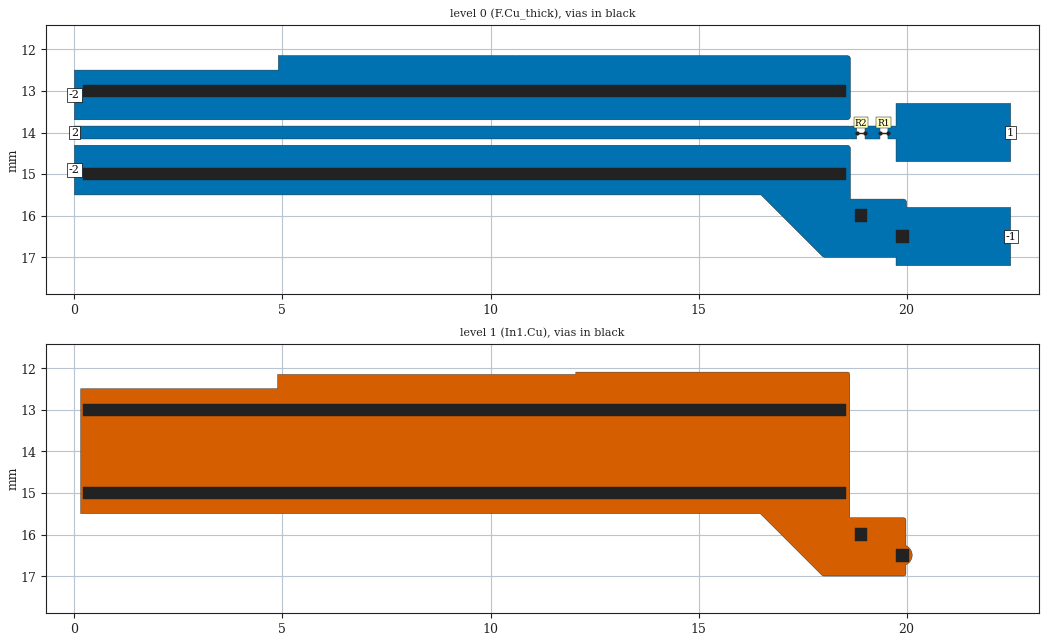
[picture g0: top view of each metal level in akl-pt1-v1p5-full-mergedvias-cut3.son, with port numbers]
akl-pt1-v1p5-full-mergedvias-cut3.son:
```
FTYP SONPROJ 19 ! Sonnet Project File
VER 18.54
HEADER
LIC antikernel2.1.51813
DAT 08/13/2022 00:26:06
BUILT_BY_CREATED dxf 18.54 08/11/2022 23:14:47
BUILT_BY_SAVED sonnet 18.54
MDATE 08/13/2022 00:26:06
HDATE 08/13/2022 00:26:06
ANN Created by dxfgeo, Sonnet Software Inc.
END HEADER
DIM
ANG DEG
CAP PF
CON /OH
FREQ GHZ
IND NH
LNG MM
RES OH
END DIM
CONTROL
VARSWP
OPTIONS  -dj
SPEED 1
CACHE_ABS 2
Q_ACC N
END CONTROL
GEO
DRP1 LEFT NONE 5
DRP1 RIGHT NONE 5
TMET "Free Space" 0 FREESPACE 376.7303136 0 0 0
BMET "Free Space" 0 FREESPACE 376.7303136 0 0 0
MET "Copper_1oz+plated_thick_up" 1 TMM 58000000 0.5 0.0432 2
MET "Copper_1oz+plated_thin" 4 NOR 58000000 0.5 0.0432 
MET "Copper_0.5oz_thin" 2 NOR 58000000 0.5 0.0175 
MET "Copper_1oz+plated_thick_down" 3 TMM 58000000 0.5 0.0432 2 CDVY TDWN
BOX 4 22.5 25 900 1000 20 0
      10 1 1 0 0 0 0 "Air"
      0.2021 3.61 1 0.0092 0 0 0 "Isola_FR408HR"
      1.1938 3.61 1 0.0092 0 0 0 "Isola_FR408HR"
      0.2021 3.61 1 0.0092 0 0 0 "Isola_FR408HR"
      10 1 1 0 0 0 0 "Air"
TECHLAY METAL F.Cu_thick <UNSPECIFIED> -1 -65534 CAD F.Cu drawing 
0 0 0 N 346 1 1 100 100 0 0 0 Y
END
END
TECHLAY VIA Via1 <UNSPECIFIED> -7 -65534 CAD Via1 drawing 
VIA POLYGON
0 0 -1 N 428 1 1 100 100 0 0 0 Y
TOLEVEL 3 RING NOCOVERS
END
END
TECHLAY METAL F.Cu_thin <UNSPECIFIED> -2 -65534 CAD F.Cu_thin drawing 
0 0 1 N 355 1 1 100 100 0 0 0 Y
END
END
TECHLAY METAL In1.Cu <UNSPECIFIED> -3 -65534 CAD In1.Cu drawing 
1 0 2 N 362 1 1 100 100 0 0 0 Y
END
END
TECHLAY METAL In2.Cu <UNSPECIFIED> -4 -65534 CAD In2.Cu drawing 
2 0 2 N 365 1 1 100 100 0 0 0 Y
END
END
TECHLAY METAL B.Cu_thin <UNSPECIFIED> -6 -65534 CAD B.Cu_thin drawing 
3 0 1 N 368 1 1 100 100 0 0 0 Y
END
END
TECHLAY METAL B.Cu_thick <UNSPECIFIED> -5 -65534 CAD B.Cu drawing 
3 0 3 N 370 1 1 100 100 0 0 0 Y
END
END
LORGN 0 25 U 
POR1 BOX
POLY 229 1
15
1 50 0 0 0 22.5 14 
POR1 BOX
POLY 377 1
6
2 50 0 0 0 0 14 
POR1 BOX
POLY 378 1
18
-1 50 0 0 0 22.5 16.5 
POR1 BOX
POLY 378 1
11
-2 50 0 0 0 0 14.903 
POR1 BOX
POLY 440 1
16
-2 50 0 0 0 0 13.0975 
SMD 0 "R1"
ID 240
GNDREF FLOAT
DRP1 LEFT NONE 2
DRP1 RIGHT NONE 2
SBOX 19.39875 19.49625 13.95125 14.04875
PBSHW N
LPOS 19.4475 13.95125
TYPE SPARAM 1
SMDP 0 19.545 14 R 3 1 
EXSMDP
GNDREF FLOAT
TERMW FEED
END EXSMDP
SMDP 0 19.35 14 L 4 2 
EXSMDP
GNDREF FLOAT
TERMW FEED
END EXSMDP
END
SMD 0 "R2"
ID 269
GNDREF FLOAT
DRP1 LEFT NONE 2
DRP1 RIGHT NONE 2
SBOX 18.85 18.95 13.95 14.05
PBSHW N
LPOS 18.9 13.95
TYPE SPARAM 2
SMDP 0 19 14 R 5 1 
EXSMDP
GNDREF FLOAT
TERMW FEED
END EXSMDP
SMDP 0 18.8 14 L 6 2 
EXSMDP
GNDREF FLOAT
TERMW FEED
END EXSMDP
END
NUM 10
0 13 0 N 3 1 1 100 100 0 0 0 Y
TLAYNAM F.Cu_thick INH
USER_DAT FromImport
19 14.155
19 13.845
19.15 13.845
19.15 13.85
19.2 13.85
19.2 13.845
19.35 13.845
19.35 14.155
19.2 14.155
19.2 14.15
19.15 14.15
19.15 14.155
19 14.155
END
0 17 0 N 229 1 1 100 100 0 0 0 Y
TLAYNAM F.Cu_thick INH
USER_DAT FromImport
22.5 13.3
19.745 13.3
19.745 13.845
19.55 13.845
19.55 13.959
19.549 13.962
19.546 13.977
19.545 13.992
19.545 14.008
19.546 14.023
19.549 14.038
19.55 14.041
19.55 14.155
19.745 14.155
19.745 14.7
22.5 14.7
22.5 13.3
END
0 15 0 N 377 1 1 100 100 0 0 0 Y
TLAYNAM F.Cu_thick INH
USER_DAT FromImport
18.8 13.845
18.65 13.845
18.65 13.853
18.638 13.849
18.623 13.846
18.608 13.845
0 13.845
0 14.155
18.608 14.155
18.623 14.154
18.638 14.151
18.65 14.147
18.65 14.155
18.8 14.155
18.8 13.845
END
0 20 0 N 378 1 1 100 100 0 0 0 Y
TLAYNAM F.Cu_thick INH
USER_DAT FromImport
22.5 15.8
20 15.8
20 15.674
19.999 15.661
19.974 15.617
19.926 15.6
18.65 15.6
18.65 14.38
18.649 14.367
18.624 14.323
18.576 14.306
0 14.306
0 15.5
16.5 15.5
17.983 16.983
18.031 17
19.745 17
19.745 17.2
22.5 17.2
22.5 15.8
END
0 20 0 N 440 1 1 100 100 0 0 0 Y
TLAYNAM F.Cu_thick INH
USER_DAT FromImport
18.589 13.693
18.633 13.668
18.65 13.621
18.65 12.224
18.649 12.211
18.624 12.167
18.576 12.15
12.05 12.15
12.05 12.15
10.629 12.15
10.61 12.153
10.6 12.155
10.591 12.153
10.57975 12.15
4.9 12.15
4.9 12.5
0 12.5
0 13.695
18.576 13.695
18.589 13.693
END
VIA POLYGON
0 5 -1 N 7 1 1 100 100 0 0 0 Y
TOLEVEL 3 RING NOCOVERS
TLAYNAM Via1 INH
USER_DAT FromImport
19.75 16.65
19.75 16.35
20.05 16.35
20.05 16.65
19.75 16.65
END
VIA POLYGON
0 5 -1 N 8 1 1 100 100 0 0 0 Y
TOLEVEL 3 RING NOCOVERS
TLAYNAM Via1 INH
USER_DAT FromImport
18.75 16.15
18.75 15.85
19.05 15.85
19.05 16.15
18.75 16.15
END
VIA POLYGON
0 5 -1 N 380 1 1 100 100 0 0 0 Y
TOLEVEL 3 RING NOCOVERS
TLAYNAM Via1 INH
USER_DAT FromImport
18.55 12.85
0.2 12.85
0.2 13.15
18.55 13.15
18.55 12.85
END
VIA POLYGON
0 5 -1 N 381 1 1 100 100 0 0 0 Y
TOLEVEL 3 RING NOCOVERS
TLAYNAM Via1 INH
USER_DAT FromImport
18.55 14.85
0.2 14.85
0.2 15.15
18.55 15.15
18.55 14.85
END
1 46 2 N 441 1 1 100 100 0 0 0 Y
TLAYNAM In1.Cu INH
USER_DAT FromImport
19.968925 16.97935
19.982925 16.94435
19.982925 16.72235
19.989925 16.71935
20.011925 16.70735
20.031925 16.69435
20.050925 16.67835
20.067925 16.66135
20.083925 16.64235
20.096925 16.62235
20.108925 16.60035
20.117925 16.57735
20.125925 16.55435
20.129925 16.53035
20.132925 16.50535
20.132925 16.48135
20.129925 16.45635
20.125925 16.43235
20.117925 16.40935
20.108925 16.38635
20.096925 16.36435
20.083925 16.34435
20.067925 16.32535
20.050925 16.30835
20.031925 16.29235
20.011925 16.27935
19.989925 16.26735
19.982925 16.26435
19.982925 15.64235
19.968925 15.60735
19.933925 15.59335
18.632925 15.59335
18.632925 12.14235
18.618925 12.10735
18.583925 12.09335
12.05 12.09335
12.05 12.15
4.882925 12.15
4.882925 12.49335
0.15 12.49335
0.15 15.49335
16.482925 15.49335
17.968925 16.97935
18.002925 16.99335
19.933925 16.99335
19.968925 16.97935
END
END GEO
OPT
MAX 100
END OPT
VARSWP
ENABLED Y
FREQ Y AY ABS_ENTRY 0.1 12.0 -1 300 
END
END VARSWP
SMDFILES
2 "../../../../../../ceph/bulk/datasheets/Vishay/Resistors/CH/CH02016F_P/CH02016F_P_200R.s2p"
1 "../../../../../../ceph/bulk/datasheets/Vishay/Resistors/CH/CH02016F_P/CH02016F_P_250R.s2p"
END SMDFILES
```
